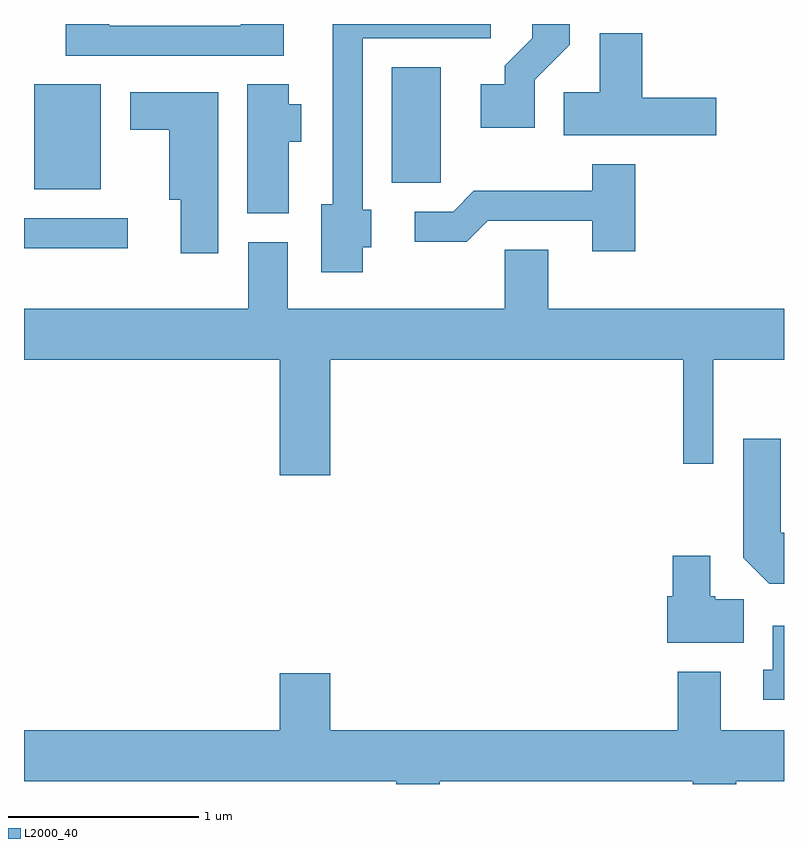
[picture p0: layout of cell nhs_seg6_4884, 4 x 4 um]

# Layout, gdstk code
import gdstk
lib = gdstk.Library(unit=1e-6, precision=1e-09)
def R(c, l, rs):  # rectangles x0, y0, x1, y1
    for r in rs: c.add(gdstk.rectangle(r[:2], r[2:], *l))
def P(c, l, *ps):  # polygons
    for p in ps: c.add(gdstk.Polygon(p, *l))
L2000_40 = (2000, 40)

nhs_seg6_4884 = lib.new_cell('nhs_seg6_4884')
R(nhs_seg6_4884, L2000_40, [(333.611,1634.981,334.158,1635.139), (333.666,1635.291,334.014,1635.844), (335.546,1635.326,335.804,1635.934)])
P(nhs_seg6_4884, L2000_40, [(335.394,1634.986),(335.439,1634.986),(335.439,1635.184),(335.394,1635.184),(335.394,1636.086),(336.068,1636.086),(336.068,1636.162),(335.236,1636.162),(335.236,1635.214),(335.176,1635.214),(335.176,1634.856),(335.394,1634.856)],
  [(334.979,1636.162),(334.751,1636.162),(334.751,1636.154),(334.059,1636.154),(334.059,1636.162),(333.831,1636.162),(333.831,1635.996),(334.979,1635.996)],
  [(336.299,1635.869),(336.484,1636.054),(336.484,1636.162),(336.286,1636.162),(336.286,1636.087),(336.141,1635.942),(336.141,1635.844),(336.016,1635.844),(336.016,1635.616),(336.299,1635.616)],
  [(337.254,1635.774),(336.864,1635.774),(336.864,1636.114),(336.641,1636.114),(336.641,1635.804),(336.451,1635.804),(336.451,1635.576),(337.254,1635.576)],
  [(335.004,1635.541),(335.069,1635.541),(335.069,1635.739),(335.004,1635.739),(335.004,1635.844),(334.786,1635.844),(334.786,1635.166),(335.004,1635.166)],
  [(334.634,1635.804),(334.171,1635.804),(334.171,1635.606),(334.376,1635.606),(334.376,1635.236),(334.436,1635.236),(334.436,1634.956),(334.634,1634.956)],
  [(336.829,1635.424),(336.601,1635.424),(336.601,1635.284),(335.979,1635.284),(335.869,1635.174),(335.668,1635.174),(335.668,1635.016),(335.942,1635.016),(336.052,1635.126),(336.601,1635.126),(336.601,1634.966),(336.829,1634.966)],
  [(335.224,1634.396),(337.081,1634.396),(337.081,1633.848),(337.239,1633.848),(337.239,1634.396),(337.611,1634.396),(337.611,1634.664),(336.369,1634.664),(336.369,1634.974),(336.141,1634.974),(336.141,1634.664),(334.999,1634.664),(334.999,1635.014),(334.791,1635.014),(334.791,1634.664),(333.611,1634.664),(333.611,1634.396),(334.956,1634.396),(334.956,1633.786),(335.224,1633.786)],
  [(337.611,1633.484),(337.594,1633.484),(337.594,1633.979),(337.396,1633.979),(337.396,1633.354),(337.534,1633.216),(337.611,1633.216)],
  [(337.399,1633.134),(337.25,1633.134),(337.25,1633.149),(337.224,1633.149),(337.224,1633.364),(337.026,1633.364),(337.026,1633.149),(336.996,1633.149),(336.996,1632.906),(337.399,1632.906)],
  [(337.611,1632.994),(337.551,1632.994),(337.551,1632.764),(337.503,1632.764),(337.503,1632.606),(337.611,1632.606)],
  [(335.799,1632.176),(337.131,1632.176),(337.131,1632.162),(337.359,1632.162),(337.359,1632.176),(337.611,1632.176),(337.611,1632.444),(337.279,1632.444),(337.279,1632.754),(337.051,1632.754),(337.051,1632.444),(335.224,1632.444),(335.224,1632.744),(334.956,1632.744),(334.956,1632.444),(333.611,1632.444),(333.611,1632.176),(335.571,1632.176),(335.571,1632.162),(335.799,1632.162)])

lib.write_gds('nhs_seg6_4884.gds')
